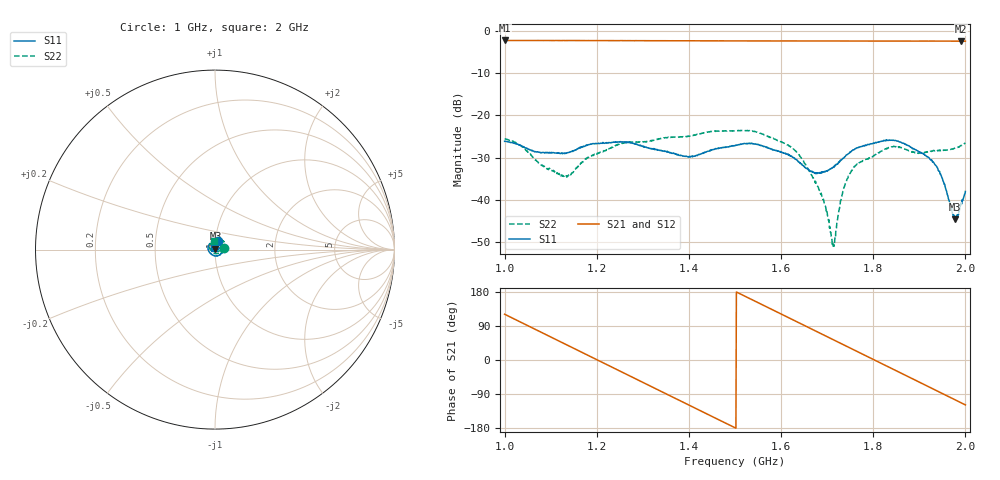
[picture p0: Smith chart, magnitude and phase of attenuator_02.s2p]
#  HZ  S  DB  R  50.00
! Rohde & Schwarz Vector Network Analyzer
! Rohde-Schwarz,ZNB8-4Port,1311601044102961,2.82
! Created: UTC 3/4/2022, 3:50:14 PM
! freq[Hz]  db:S11  ang:S11  db:S21  ang:S21  db:S12  ang:S12  db:S22  ang:S22
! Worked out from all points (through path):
!   1001 points, 1 GHz to 2 GHz, reference 50 ohm
!   highest |S21| = -2.24 dB at 1.001 GHz (marker M1); lowest = -2.4 dB at 1.991 GHz (marker M2)
!   group delay of S21, straight-line fit = 1.66 ns
!   lowest |S11| = -44.6 dB at 1.977 GHz (marker M3), VSWR 1.01, Z = 50.3 + j0.527 ohm
!   |S11| at or under -10 dB: start of sweep to end of sweep
!   |S22| runs from -51.0 to -23.6 dB; largest |S21 - S12| = 0.0019
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1e9  -26.15 71.0  -2.24 120.8  -2.23 120.8  -25.57 7.5
1.001e9  -26.12 70.6  -2.24 120.2  -2.23 120.2  -25.59 7.1
1.08e9  -28.84 56.6  -2.24 72.8  -2.23 72.8  -31.85 -60.6
1.132e9  -29.02 53.7  -2.26 41.6  -2.25 41.7  -34.49 -137.1
1.167e9  -27.45 49.1  -2.26 20.7  -2.25 20.6  -31.30 171.3
1.244e9  -26.39 16.0  -2.27 -25.5  -2.28 -25.5  -27.09 120.1
1.334e9  -28.22 -53.7  -2.30 -79.3  -2.29 -79.4  -25.63 93.4
1.408e9  -29.84 -139.3  -2.31 -123.7  -2.31 -123.7  -24.77 79.1
1.5e9  -27.17 130.5  -2.35 -178.8  -2.34 -178.7  -23.66 51.9
1.545e9  -26.78 101.0  -2.35 154.3  -2.35 154.3  -23.89 35.6
1.594e9  -28.51 74.7  -2.35 125.0  -2.35 125.0  -26.01 11.5
1.629e9  -30.09 64.4  -2.35 104.0  -2.35 104.1  -28.20 -4.0
1.667e9  -33.23 74.8  -2.35 81.3  -2.35 81.3  -34.28 -29.5
1.692e9  -33.45 87.5  -2.36 66.3  -2.36 66.3  -39.89 -59.0
1.713e9  -32.30 93.9  -2.36 53.7  -2.36 53.7  -50.99 -135.2
1.734e9  -30.20 98.4  -2.36 41.1  -2.36 41.1  -38.06 140.0
1.753e9  -28.44 95.9  -2.37 29.7  -2.36 29.7  -33.06 131.1
1.834e9  -25.94 62.6  -2.38 -18.8  -2.38 -18.8  -27.64 92.4
1.93e9  -31.05 15.1  -2.39 -76.4  -2.38 -76.4  -28.34 81.8
1.977e9  -44.62 63.0  -2.40 -104.6  -2.39 -104.6  -27.80 98.9
1.991e9  -40.67 109.7  -2.40 -113.1  -2.39 -113.1  -27.12 98.1
2e9  -38.05 119.4  -2.40 -118.5  -2.39 -118.5  -26.55 96.6
